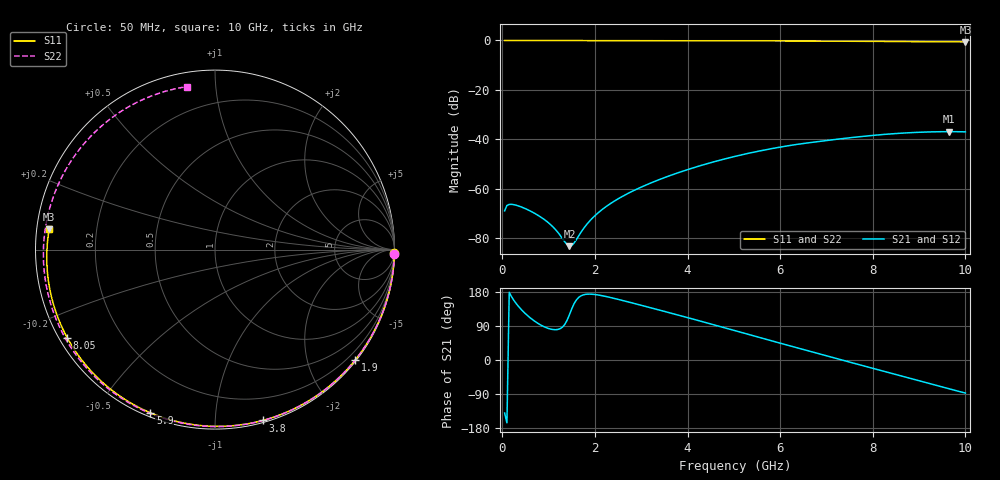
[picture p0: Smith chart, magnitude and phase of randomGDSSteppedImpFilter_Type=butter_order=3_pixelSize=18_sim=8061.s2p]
! freq	dB(S11)	phase(S11)	dB(S12)	phase(S12)
!  dB(S21)	phase(S21)	dB(S22)	phase(S22)
!S-par simulation data
#  GHz  S  DB  R 50
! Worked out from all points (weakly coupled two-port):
!   200 points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, 50 MHz to 10 GHz, reference 50 ohm
!   highest |S21| = -36.91 dB at 9.65 GHz (marker M1); lowest = -83.2 dB at 1.45 GHz (marker M2)
!   lowest |S11| = -0.6 dB at 10 GHz (marker M3), VSWR 27.94, Z = 1.8 + j3.02 ohm
!   |S11| at or under -10 dB: nowhere
!   |S22| runs from -0.7 to 0.0 dB; largest |S21 - S12| = 0
!   S11 on the Smith chart (normalised r, x): 50 MHz: open; 1.9 GHz: 0.03, -2.89; 3.8 GHz: 0.02, -1.32; 5.9 GHz: 0.02, -0.68; 8.05 GHz: 0.02, -0.28; 10 GHz: 0.04, +0.06
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0.05  -0.00 -1.0  -68.96 -139.9  -68.96 -139.9  -0.00 -1.3
0.1  -0.00 -2.0  -66.79 -165.8  -66.79 -165.8  -0.00 -2.6
0.15  -0.00 -3.0  -66.35 178.6  -66.35 178.6  -0.00 -3.8
0.45  -0.01 -9.2  -67.67 128.1  -67.67 128.1  -0.01 -11.5
0.95  -0.02 -19.3  -73.06 85.3  -73.06 85.3  -0.03 -24.2
1.3  -0.03 -26.3  -80.18 86.9  -80.18 86.9  -0.04 -32.9
1.45  -0.04 -29.3  -83.24 119.5  -83.24 119.5  -0.05 -36.6
1.6  -0.04 -32.3  -80.56 158.5  -80.56 158.5  -0.05 -40.3
1.75  -0.04 -35.3  -76.23 171.9  -76.23 171.9  -0.06 -44.0
1.9  -0.05 -38.2  -72.78 173.9  -72.78 173.9  -0.06 -47.7
2.5  -0.06 -49.9  -64.10 160.1  -64.10 160.1  -0.08 -62.2
3.4  -0.09 -66.9  -56.23 131.5  -56.23 131.5  -0.11 -83.4
3.8  -0.10 -74.3  -53.51 118.5  -53.51 118.5  -0.13 -92.6
5.05  -0.15 -96.8  -46.80 76.5  -46.80 76.5  -0.19 -121.0
5.9  -0.19 -111.6  -43.49 47.7  -43.49 47.7  -0.24 -140.4
6.7  -0.25 -125.5  -41.21 21.4  -41.21 21.4  -0.31 -159.4
7.4  -0.31 -137.7  -39.59 -2.3  -39.59 -2.3  -0.38 -177.1
8.05  -0.37 -149.2  -38.33 -23.6  -38.33 -23.6  -0.45 165.2
8.35  -0.40 -154.6  -37.87 -33.5  -37.87 -33.5  -0.49 156.5
9  -0.48 -166.8  -37.15 -55.0  -37.15 -55.0  -0.57 136.0
9.65  -0.57 -179.6  -36.91 -76.2  -36.91 -76.2  -0.66 113.1
10  -0.62 173.1  -36.98 -87.2  -36.98 -87.2  -0.71 99.6
